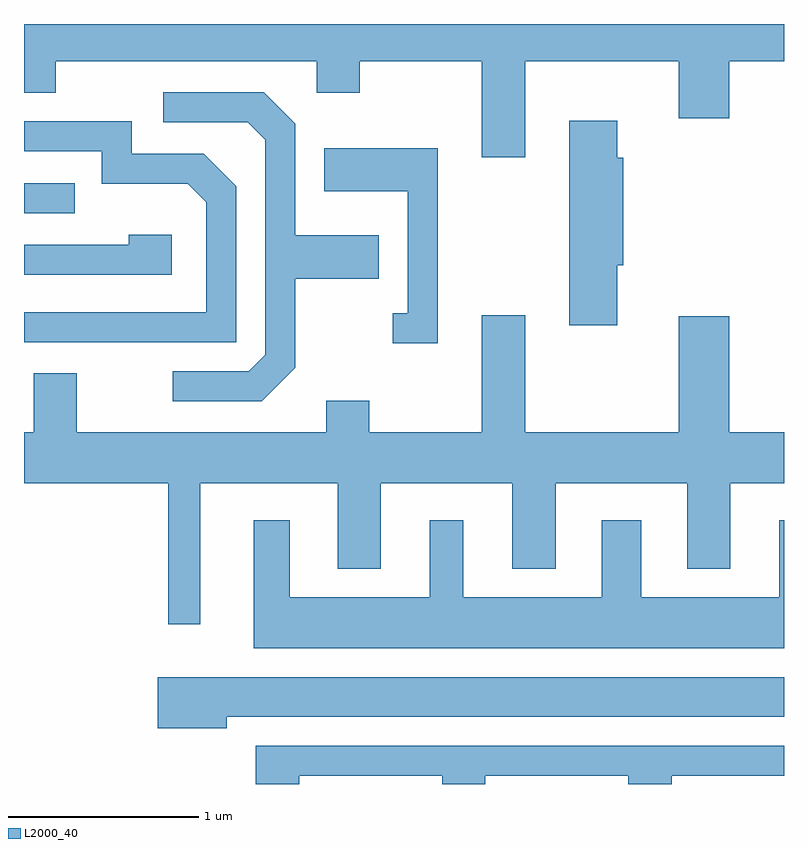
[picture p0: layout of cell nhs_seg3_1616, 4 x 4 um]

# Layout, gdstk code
import gdstk
lib = gdstk.Library(unit=1e-6, precision=1e-09)
def R(c, l, rs):  # rectangles x0, y0, x1, y1
    for r in rs: c.add(gdstk.rectangle(r[:2], r[2:], *l))
def P(c, l, *ps):  # polygons
    for p in ps: c.add(gdstk.Polygon(p, *l))
L2000_40 = (2000, 40)

nhs_seg3_1616 = lib.new_cell('nhs_seg3_1616')
R(nhs_seg3_1616, L2000_40, [(231.611,1222.896,231.878,1223.054)])
P(nhs_seg3_1616, L2000_40, [(234.249,1223.696),(235.056,1223.696),(235.056,1223.396),(235.324,1223.396),(235.324,1223.696),(235.611,1223.696),(235.611,1223.892),(231.611,1223.892),(231.611,1223.531),(231.779,1223.531),(231.779,1223.696),(233.151,1223.696),(233.151,1223.531),(233.379,1223.531),(233.379,1223.696),(234.021,1223.696),(234.021,1223.191),(234.249,1223.191)],
  [(233.039,1222.084),(233.039,1222.551),(233.479,1222.551),(233.479,1222.779),(233.039,1222.779),(233.039,1223.367),(232.872,1223.534),(232.343,1223.534),(232.343,1223.376),(232.789,1223.376),(232.881,1223.284),(232.881,1222.152),(232.794,1222.064),(232.393,1222.064),(232.393,1221.906),(232.862,1221.906)],
  [(234.734,1222.621),(234.764,1222.621),(234.764,1223.189),(234.734,1223.189),(234.734,1223.384),(234.481,1223.384),(234.481,1222.306),(234.734,1222.306)],
  [(232.729,1223.037),(232.557,1223.209),(232.179,1223.209),(232.179,1223.379),(231.611,1223.379),(231.611,1223.221),(232.021,1223.221),(232.021,1223.051),(232.474,1223.051),(232.571,1222.954),(232.571,1222.374),(231.611,1222.374),(231.611,1222.216),(232.729,1222.216)],
  [(233.789,1223.239),(233.191,1223.239),(233.191,1223.011),(233.631,1223.011),(233.631,1222.369),(233.553,1222.369),(233.553,1222.211),(233.789,1222.211)],
  [(232.389,1222.784),(232.161,1222.784),(232.161,1222.729),(231.611,1222.729),(231.611,1222.571),(232.389,1222.571)],
  [(232.539,1221.476),(233.261,1221.476),(233.261,1221.026),(233.489,1221.026),(233.489,1221.476),(234.181,1221.476),(234.181,1221.026),(234.409,1221.026),(234.409,1221.476),(235.101,1221.476),(235.101,1221.026),(235.329,1221.026),(235.329,1221.476),(235.611,1221.476),(235.611,1221.744),(235.324,1221.744),(235.324,1222.354),(235.056,1222.354),(235.056,1221.744),(234.249,1221.744),(234.249,1222.359),(234.021,1222.359),(234.021,1221.744),(233.429,1221.744),(233.429,1221.909),(233.201,1221.909),(233.201,1221.744),(231.889,1221.744),(231.889,1222.054),(231.661,1222.054),(231.661,1221.744),(231.611,1221.744),(231.611,1221.476),(232.371,1221.476),(232.371,1220.733),(232.539,1220.733)],
  [(235.611,1221.279),(235.586,1221.279),(235.586,1220.874),(234.859,1220.874),(234.859,1221.279),(234.651,1221.279),(234.651,1220.874),(233.924,1220.874),(233.924,1221.279),(233.746,1221.279),(233.746,1220.874),(233.009,1220.874),(233.009,1221.279),(232.821,1221.279),(232.821,1220.606),(235.611,1220.606)],
  [(232.679,1220.246),(235.611,1220.246),(235.611,1220.454),(232.316,1220.454),(232.316,1220.186),(232.679,1220.186)],
  [(233.059,1219.936),(233.811,1219.936),(233.811,1219.892),(234.039,1219.892),(234.039,1219.936),(234.791,1219.936),(234.791,1219.892),(235.019,1219.892),(235.019,1219.936),(235.611,1219.936),(235.611,1220.094),(232.831,1220.094),(232.831,1219.892),(233.059,1219.892)])

lib.write_gds('nhs_seg3_1616.gds')
